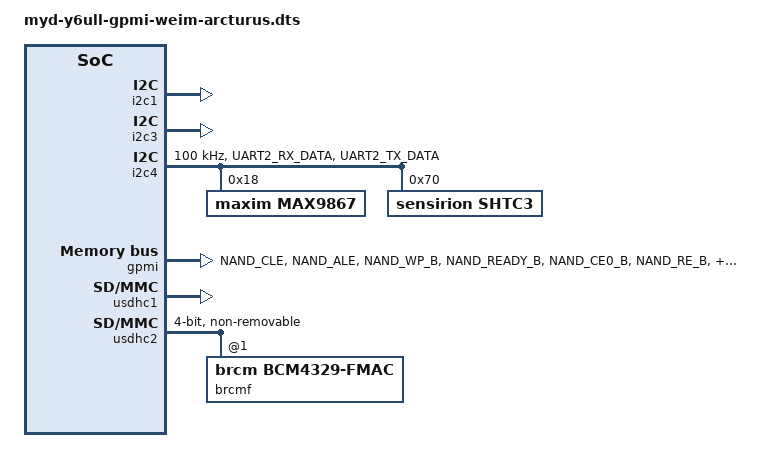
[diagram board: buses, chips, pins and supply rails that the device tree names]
/*
 * Copyright (C) 2016 Freescale Semiconductor, Inc.
 * Copyright (C) myir alex 
 * This program is free software; you can redistribute it and/or modify
 * it under the terms of the GNU General Public License version 2 as
 * published by the Free Software Foundation.
 */

#include "myb-imx6ull-14x14-base.dts"

/ {
 	sound_card: sound-card {
                compatible = "simple-audio-card";
                simple-audio-card,format = "i2s";
                simple-audio-card,frame-master = <&dailink_master>;
                simple-audio-card,bitclock-master = <&dailink_master>;
                simple-audio-card,name = "max9867";
                status = "okay";
                simple-audio-card,routing =
                    "Left Line", "LOUT",
                    "Right Line", "ROUT";
                simple-audio-card,widgets =
                    "Headphones", "Headphones",
                    "Line", "Left Line",
                    "Line", "Right Line",
                    "Speaker", "Speaker";
                
                dailink_master: simple-audio-card,cpu {
                        sound-dai = <&sai2>;
                        clocks = <&clks IMX6UL_CLK_SAI2>;
                };

                simple-audio-card,codec{
                        sound-dai = <&max9867>;
                };

        };
    /delete-node/ sound;
};

/delete-node/ &backlight_display;
/delete-node/ &lcdif;

&i2c1 {
    status = "okay";
};

&i2c2 {
    /delete-node/ codec;
    /delete-node/ ft5x06;
    /delete-node/ ov2659;
};

&i2c3 {
    status = "okay";
};

&i2c4 {
	clock-frequency = <100000>;
	pinctrl-names = "default";
	pinctrl-0 = <&pinctrl_i2c4>;
	status = "okay";

	max9867: max9867@18 {
		compatible = "maxim,max9867";
        clocks = <&clks IMX6UL_CLK_SAI2>;
		#sound-dai-cells = <0>;
		reg = <0x18>;
	};

    /* Temperature, humidty sensor */
	shtc3: shtc3@70 {
		compatible = "sensirion,shtc3";
		reg = <0x70>;
		sensirion,blocking-io;
	};
};



&gpmi {
	pinctrl-names = "default";
	pinctrl-0 = <&pinctrl_gpmi_nand_1>;
	status = "okay";
	nand-on-flash-bbt;
};

&iomuxc {
		pinctrl_gpmi_nand_1: gpmi-nand-1 {
			fsl,pins = <
				MX6UL_PAD_NAND_CLE__RAWNAND_CLE         0xb0b1
				MX6UL_PAD_NAND_ALE__RAWNAND_ALE         0xb0b1
				MX6UL_PAD_NAND_WP_B__RAWNAND_WP_B       0xb0b1
				MX6UL_PAD_NAND_READY_B__RAWNAND_READY_B 0xb000
				MX6UL_PAD_NAND_CE0_B__RAWNAND_CE0_B     0xb0b1
				MX6UL_PAD_NAND_RE_B__RAWNAND_RE_B       0xb0b1
				MX6UL_PAD_NAND_WE_B__RAWNAND_WE_B       0xb0b1
				MX6UL_PAD_NAND_DATA00__RAWNAND_DATA00   0xb0b1
				MX6UL_PAD_NAND_DATA01__RAWNAND_DATA01   0xb0b1
				MX6UL_PAD_NAND_DATA02__RAWNAND_DATA02   0xb0b1
				MX6UL_PAD_NAND_DATA03__RAWNAND_DATA03   0xb0b1
				MX6UL_PAD_NAND_DATA04__RAWNAND_DATA04   0xb0b1
				MX6UL_PAD_NAND_DATA05__RAWNAND_DATA05   0xb0b1
				MX6UL_PAD_NAND_DATA06__RAWNAND_DATA06   0xb0b1
				MX6UL_PAD_NAND_DATA07__RAWNAND_DATA07   0xb0b1
			>;
		};
    imx6ul-evk {
        pinctrl_i2c4: i2c4grp {
		    fsl,pins = <
			    MX6UL_PAD_UART2_RX_DATA__I2C4_SDA 0x4001b8b0
			    MX6UL_PAD_UART2_TX_DATA__I2C4_SCL 0x4001b8b0
		    >;
	    };
    };
};

&usdhc1 {
	status = "okay";
};

&usdhc2 {
    #address-cells = <1>;
    #size-cells = <0>;
    pinctrl-names = "default";
    max-frequency = <50000000>;
    pinctrl-0 = <&pinctrl_usdhc2_alt &pinctrl_wifi>;
    bus-width = <4>;
    no-1-8-v;   /* force 3.3V VIO */
    non-removable;
    pm-ignore-notify;
    cap-power-off-card;
//    /delete-property/ wakeup-source;
    status = "okay";

    brcmf: bcrmf@1 {
        reg = <1>;
        compatible = "brcm,bcm4329-fmac";
    };
};

